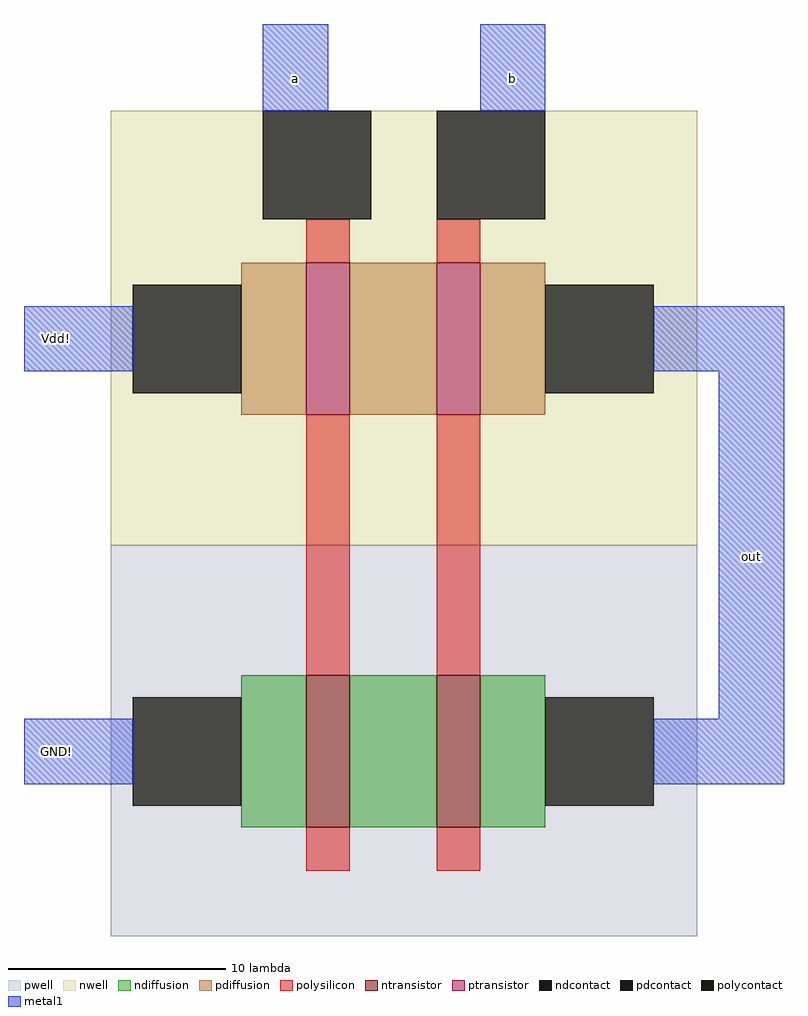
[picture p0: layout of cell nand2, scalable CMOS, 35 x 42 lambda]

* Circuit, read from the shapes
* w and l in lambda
.subckt nand2 GND! Vdd! a b out
M1 n1 a GND! VSUBS nfet w=7 l=2
M2 out b n1 VSUBS nfet w=7 l=2
M3 n2 a Vdd! n3 pfet w=7 l=2
M4 out b n2 n3 pfet w=7 l=2
.ends

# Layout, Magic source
magic
tech scmos
<< pwell >>
rect -6 -22 21 -4
<< nwell >>
rect -6 -4 21 16
<< polysilicon >>
rect 3 9 5 11
rect 9 9 11 11
rect 3 -10 5 2
rect 9 -10 11 2
rect 3 -19 5 -17
rect 9 -19 11 -17
<< ndiffusion >>
rect 0 -17 3 -10
rect 5 -17 9 -10
rect 11 -17 14 -10
<< pdiffusion >>
rect 0 2 3 9
rect 5 2 9 9
rect 11 2 14 9
<< metal1 >>
rect 1 16 4 20
rect 11 16 14 20
rect -10 4 -5 7
rect 19 4 25 7
rect -10 -15 -5 -12
rect 22 -12 25 4
rect 19 -15 25 -12
<< ntransistor >>
rect 3 -17 5 -10
rect 9 -17 11 -10
<< ptransistor >>
rect 3 2 5 9
rect 9 2 11 9
<< polycontact >>
rect 1 11 6 16
rect 9 11 14 16
<< ndcontact >>
rect -5 -16 0 -11
rect 14 -16 19 -11
<< pdcontact >>
rect -5 3 0 8
rect 14 3 19 8
<< labels >>
rlabel metal1 2 17 3 18 5 a
rlabel metal1 23 -5 24 -4 7 out
rlabel metal1 12 17 13 18 5 b
rlabel metal1 -9 5 -8 6 3 Vdd!
rlabel metal1 -9 -14 -8 -13 3 GND!
<< end >>
